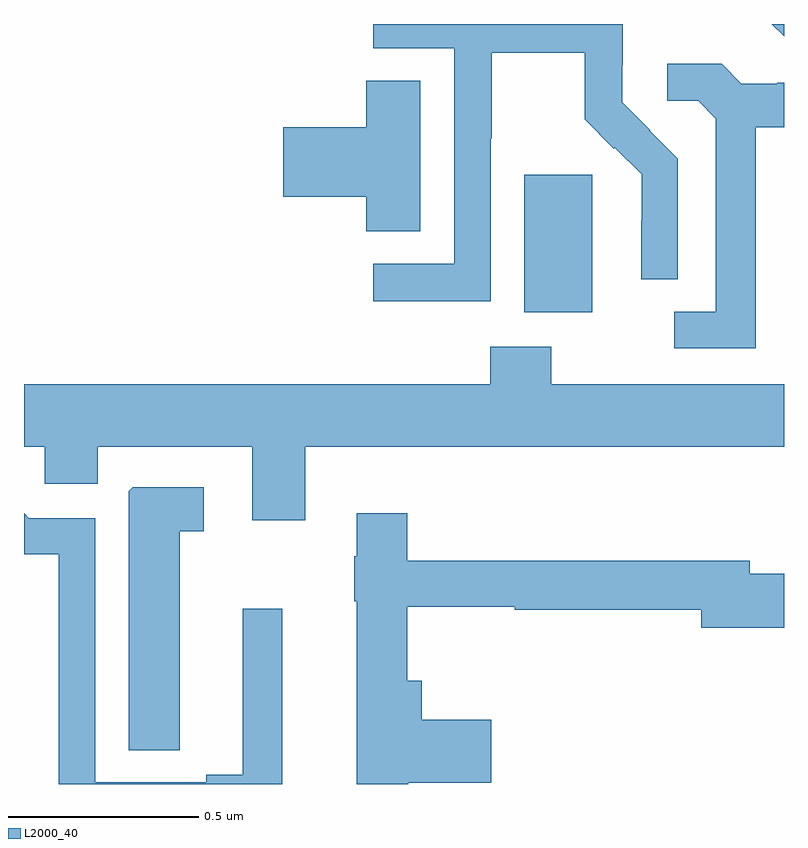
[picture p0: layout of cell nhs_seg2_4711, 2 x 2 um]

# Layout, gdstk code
import gdstk
lib = gdstk.Library(unit=1e-6, precision=1e-09)
def R(c, l, rs):  # rectangles x0, y0, x1, y1
    for r in rs: c.add(gdstk.rectangle(r[:2], r[2:], *l))
def P(c, l, *ps):  # polygons
    for p in ps: c.add(gdstk.Polygon(p, *l))
L2000_40 = (2000, 40)

nhs_seg2_4711 = lib.new_cell('nhs_seg2_4711')
R(nhs_seg2_4711, L2000_40, [(171.317,596.042,171.496,596.403)])
P(nhs_seg2_4711, L2000_40, [(171.228,596.5),(171.231,596.5),(171.231,596.724),(171.475,596.724),(171.475,596.549),(171.552,596.472),(171.555,596.475),(171.626,596.405),(171.626,596.282),(171.624,596.282),(171.624,596.128),(171.72,596.128),(171.72,596.446),(171.647,596.519),(171.648,596.52),(171.574,596.594),(171.574,596.691),(171.576,596.691),(171.576,596.8),(170.919,596.8),(170.919,596.736),(171.132,596.736),(171.132,596.169),(170.919,596.169),(170.919,596.071),(171.228,596.071)],
  [(172,596.8),(171.968,596.8),(172,596.768)],
  [(171.925,596.528),(172,596.528),(172,596.646),(171.982,596.646),(171.982,596.643),(171.888,596.643),(171.836,596.695),(171.693,596.695),(171.693,596.598),(171.774,596.598),(171.821,596.551),(171.821,596.043),(171.711,596.043),(171.711,595.947),(171.925,595.947)],
  [(171.043,596.651),(170.9,596.651),(170.9,596.528),(170.682,596.528),(170.682,596.345),(170.9,596.345),(170.9,596.254),(171.043,596.254)],
  [(170.74,595.688),(172,595.688),(172,595.852),(171.387,595.852),(171.387,595.951),(171.227,595.951),(171.227,595.852),(170,595.852),(170,595.688),(170.055,595.688),(170.055,595.59),(170.194,595.59),(170.194,595.688),(170.6,595.688),(170.6,595.494),(170.74,595.494)],
  [(170.41,595.465),(170.473,595.465),(170.473,595.581),(170.286,595.581),(170.276,595.571),(170.276,594.889),(170.41,594.889)],
  [(170.68,595.261),(170.576,595.261),(170.576,594.824),(170.48,594.824),(170.48,594.804),(170.187,594.804),(170.187,595.5),(170.013,595.5),(170,595.513),(170,595.405),(170.091,595.405),(170.091,594.8),(170.68,594.8)],
  [(171.011,594.803),(171.229,594.803),(171.229,594.969),(171.047,594.969),(171.047,595.072),(171.008,595.072),(171.008,595.266),(171.291,595.266),(171.291,595.258),(171.782,595.258),(171.782,595.211),(172,595.211),(172,595.353),(171.91,595.353),(171.91,595.387),(171.008,595.387),(171.008,595.513),(170.876,595.513),(170.876,595.4),(170.869,595.4),(170.869,595.281),(170.876,595.281),(170.876,594.8),(171.011,594.8)])

lib.write_gds('nhs_seg2_4711.gds')
